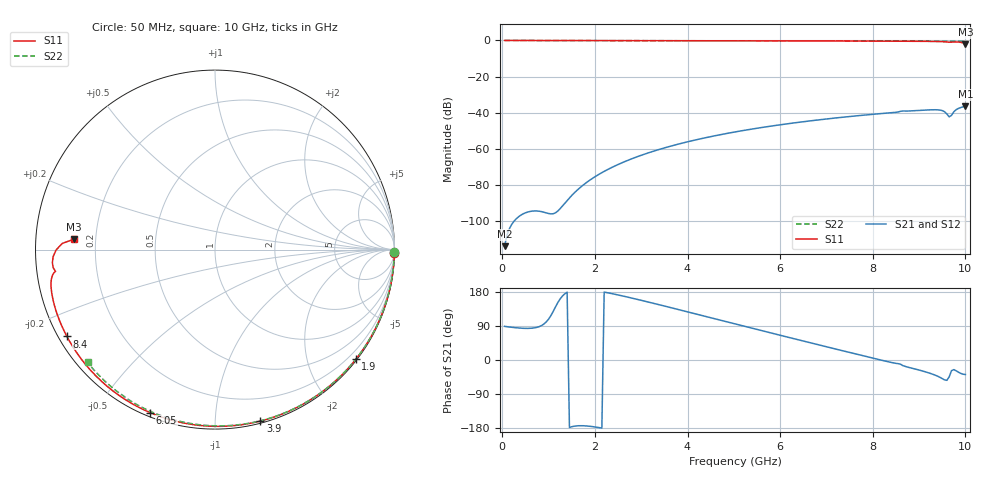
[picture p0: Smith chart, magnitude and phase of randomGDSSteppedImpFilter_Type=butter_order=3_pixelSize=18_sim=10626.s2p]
! freq	dB(S11)	phase(S11)	dB(S12)	phase(S12)
!  dB(S21)	phase(S21)	dB(S22)	phase(S22)
!S-par simulation data
#  GHz  S  DB  R 50
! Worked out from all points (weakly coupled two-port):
!   200 points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, 50 MHz to 10 GHz, reference 50 ohm
!   highest |S21| = -36.39 dB at 10 GHz (marker M1); lowest = -113.7 dB at 50 MHz (marker M2)
!   lowest |S11| = -2.0 dB at 10 GHz (marker M3), VSWR 8.51, Z = 5.88 + j1.79 ohm
!   |S11| at or under -10 dB: nowhere
!   |S22| runs from -0.5 to 0.0 dB; largest |S21 - S12| = 0
!   S11 on the Smith chart (normalised r, x): 50 MHz: open; 1.9 GHz: 0.03, -2.91; 3.9 GHz: 0.02, -1.30; 6.05 GHz: 0.02, -0.68; 8.4 GHz: 0.02, -0.27; 10 GHz: 0.12, +0.04
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0.05  -0.00 -1.0  -113.66 88.8  -113.66 88.8  -0.00 -0.8
0.85  -0.02 -17.2  -94.58 91.1  -94.58 91.1  -0.02 -13.5
1.75  -0.04 -35.0  -79.82 -173.5  -79.82 -173.5  -0.04 -27.6
1.9  -0.05 -37.9  -77.01 -175.0  -77.01 -175.0  -0.04 -29.9
2.2  -0.06 -43.7  -72.33 179.2  -72.33 179.2  -0.04 -34.6
2.55  -0.06 -50.4  -67.96 170.3  -67.96 170.3  -0.05 -39.9
3.4  -0.09 -66.2  -60.12 145.5  -60.12 145.5  -0.07 -52.6
3.9  -0.10 -75.2  -56.62 130.2  -56.62 130.2  -0.08 -59.8
5.05  -0.15 -95.1  -50.43 94.5  -50.43 94.5  -0.12 -76.0
6.05  -0.20 -111.7  -46.41 63.7  -46.41 63.7  -0.16 -89.4
6.7  -0.24 -122.2  -44.27 44.0  -44.27 44.0  -0.19 -97.9
7.55  -0.30 -135.8  -41.89 18.4  -41.89 18.4  -0.24 -108.6
8.35  -0.38 -148.8  -40.03 -5.1  -40.03 -5.1  -0.30 -118.5
8.4  -0.38 -149.6  -39.93 -6.5  -39.93 -6.5  -0.31 -119.1
8.65  -0.41 -153.8  -38.97 -14.8  -38.97 -14.8  -0.34 -122.2
9.4  -0.58 -167.7  -38.33 -42.7  -38.33 -42.7  -0.41 -131.2
9.55  -0.75 -171.0  -39.37 -52.5  -39.37 -52.5  -0.42 -133.0
9.65  -0.95 -172.2  -42.21 -44.4  -42.21 -44.4  -0.43 -134.2
9.7  -0.92 -172.6  -41.38 -28.2  -41.38 -28.2  -0.43 -134.8
9.8  -0.83 -175.4  -38.24 -28.5  -38.24 -28.5  -0.44 -136.1
9.9  -1.05 -179.8  -37.06 -35.3  -37.06 -35.3  -0.46 -137.3
10  -2.05 175.8  -36.39 -38.3  -36.39 -38.3  -0.47 -138.5
